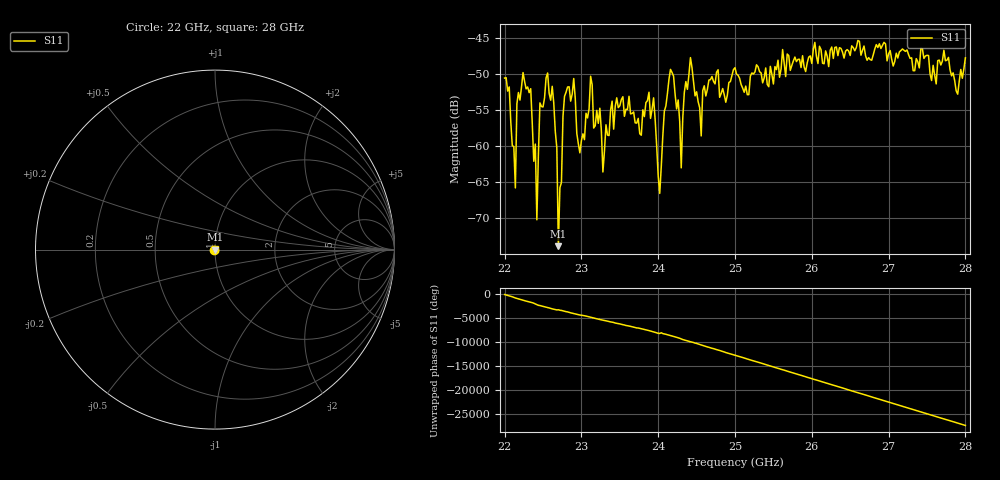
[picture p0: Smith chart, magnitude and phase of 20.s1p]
#  HZ  S  RI  R  50.00
! Rohde & Schwarz ZVA40 4Ports - Version 3.90 - 1145.1110k42 SN: 100403
! Date: 2023-10-04 07:16:22
! Measurement: S12
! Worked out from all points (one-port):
!   301 points, 22 GHz to 28 GHz, reference 50 ohm
!   lowest |S11| = -73.8 dB at 22.7 GHz (marker M1), VSWR 1.00, Z = 50 - j0.0196 ohm
!   |S11| at or under -10 dB: start of sweep to end of sweep
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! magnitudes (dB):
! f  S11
! 22 GHz  -50.6
! 22.14 GHz  -65.8
! 22.18 GHz  -52.6
! 22.34 GHz  -52.1
! 22.42 GHz  -70.2
! 22.46 GHz  -54.0
! 22.62 GHz  -51.7
! 22.68 GHz  -60.2
! 22.7 GHz  -73.8
! 22.76 GHz  -55.9
! 22.9 GHz  -50.7
! 22.98 GHz  -60.9
! 23.12 GHz  -50.3
! 23.28 GHz  -63.6
! 23.5 GHz  -54.4
! 23.94 GHz  -53.3
! 24.02 GHz  -66.5
! 24.16 GHz  -49.4
! 24.26 GHz  -53.6
! 24.3 GHz  -63.0
! 24.42 GHz  -47.8
! 24.56 GHz  -58.6
! 24.6 GHz  -51.7
! 25 GHz  -49.2
! 25.76 GHz  -48.2
! 26.5 GHz  -47.5
! 27.26 GHz  -47.4
! 28 GHz  -47.8
